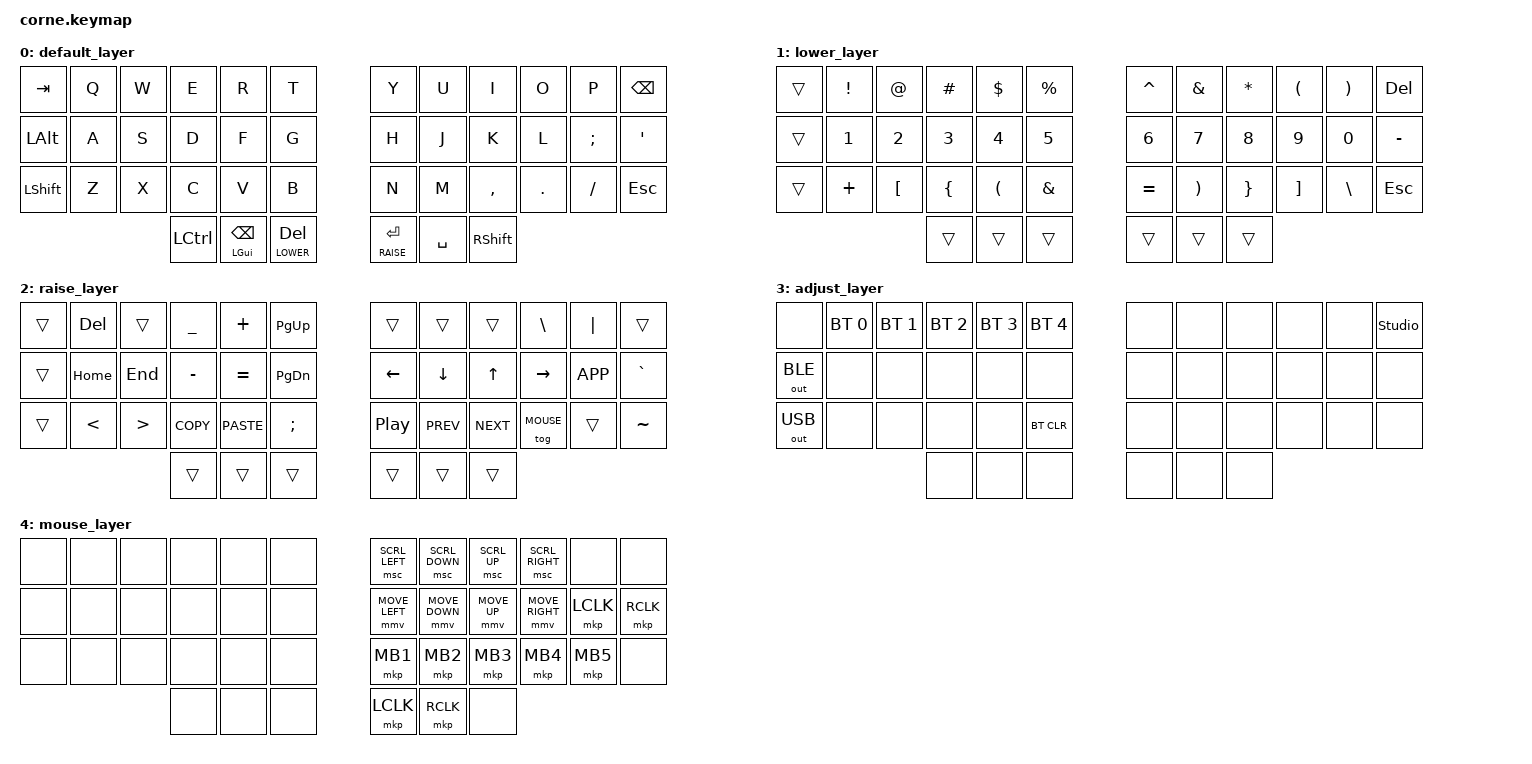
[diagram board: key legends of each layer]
/*
 * Copyright (c) 2020 The ZMK Contributors
 *
 * SPDX-License-Identifier: MIT
 */

#include <behaviors.dtsi>
#include <dt-bindings/zmk/keys.h>
#include <dt-bindings/zmk/bt.h>
#include <dt-bindings/zmk/outputs.h>
#include <dt-bindings/zmk/pointing.h>

#define BASE 0
#define LOWER 1
#define RAISE 2
#define ADJUST 3
#define MOUSE 4

/ {

   // Activate ADJUST layer by pressing raise and lower
    conditional_layers {
        compatible = "zmk,conditional-layers";
        adjust_layer {
            if-layers = <LOWER RAISE>;
            then-layer = <ADJUST>;
        };
    };

        keymap {
                compatible = "zmk,keymap";

                default_layer {
// -----------------------------------------------------------------------------------------
// |  TAB |  Q  |  W  |  E  |  R  |  T  |   |  Y  |  U   |  I  |  O  |  P  | BSPC |
// | ALT  |  A  |  S  |  D  |  F  |  G  |   |  H  |  J   |  K  |  L  |  ;  |  '   |
// | SHFT |  Z  |  X  |  C  |  V  |  B  |   |  N  |  M   |  ,  |  .  |  /  | ESC  |
//                    | CTRL | GUI/BKSPACE | LOWER/DEL |   | RAISE/ENTER | SPACE | SHIFT |
                        bindings = <
   &kp TAB   &kp Q &kp W &kp E &kp R &kp T   &kp Y &kp U  &kp I     &kp O   &kp P    &kp BSPC
   &kp LALT  &kp A &kp S &kp D &kp F &kp G   &kp H &kp J  &kp K     &kp L   &kp SEMI &kp SQT
   &kp LSHFT &kp Z &kp X &kp C &kp V &kp B   &kp N &kp M  &kp COMMA &kp DOT &kp FSLH &kp ESC
                  &kp LCTRL &mt LGUI BSPC &lt LOWER DEL    &lt RAISE ENTER &kp SPACE &kp RSHIFT
                        >;
                };

                lower_layer {
// -----------------------------------------------------------------------------------------
// |  TAB |  !  |  @  |  #  |  $  |  %  |   |  ^  |  &  |  *  |  (  |  )  | DEL  |
// | ALT  |  1  |  2  |  3  |  4  |  5  |   |  6  |  7  |  8  |  9  |  0  |  -   |
// | SHFT |  +  |  [  |  {  |  (  |  &  |   |  =  |  )  |  }  |  ]  |  \  | ESC  |
//                    | CTRL | GUI | LOWER |   | RAISE | SPACE | SHIFT |
                        bindings = <
   &trans &kp EXCL &kp AT   &kp HASH &kp DLLR &kp PRCNT    &kp CARET &kp AMPS  &kp ASTRK &kp LPAR &kp RPAR &kp DEL
   &trans &kp N1   &kp N2   &kp N3   &kp N4   &kp N5       &kp N6    &kp N7    &kp N8    &kp N9   &kp N0   &kp MINUS
   &trans &kp PLUS &kp LBKT &kp LBRC &kp LPAR &kp AMPS     &kp EQUAL &kp RPAR  &kp RBRC  &kp RBKT &kp BSLH &kp ESC
                                    &trans &trans &trans     &trans &trans &trans
                        >;
                };

                raise_layer {
// -----------------------------------------------------------------------------------------
// | TAB  | DEL  |      |  _   |  +   | PGUP |   |      |      |      | \    |  |   | BSPC |
// | ALT  | HOME | END  |  -   |  =   | PGDN |   | LEFT | DOWN |  UP  | RIGHT| APP |  `   |
// | SHFT |  <   |  >   | COPY | PASTE|  ;   |   | PLAY | PREV | NEXT | MOUSE|     |  ~   |
//                      | CTRL | GUI  | LOWER |   | RAISE| SPACE| SHIFT|
                        bindings = <
   &trans &kp DEL  &trans    &kp UNDER &kp PLUS   &kp PG_UP     &trans    &trans     &trans     &kp BSLH  &kp PIPE  &trans
   &trans &kp HOME &kp END   &kp MINUS &kp EQUAL  &kp PG_DN     &kp LEFT  &kp DOWN   &kp UP     &kp RIGHT &kp K_APP &kp GRAVE
   &trans &kp LT   &kp GT    &kp K_COPY &kp K_PASTE &kp SEMI    &kp C_PP  &kp C_PREV &kp C_NEXT &tog MOUSE &trans    &kp TILDE
                           &trans     &trans      &trans         &trans    &trans     &trans
                        >;
                };

                adjust_layer {
// -----------------------------------------------------------------------------------------
// |      | BT1  | BT2  | BT3  | BT4  | BT5  |   |      |      |      |      |      |STUDIO|
// | BLE  |      |      |      |      |      |   |      |      |      |      |      |      |
// | USB  |      |      |      |      | BTCLR|   |      |      |      |      |      |      |
//                       |      |      |      |   |      |      |      |
                        bindings = <
    &none        &bt BT_SEL 0 &bt BT_SEL 1 &bt BT_SEL 2 &bt BT_SEL 3 &bt BT_SEL 4   &none &none &none &none &none &studio_unlock
    &out OUT_BLE &none        &none        &none        &none        &none          &none &none &none &none &none &none
    &out OUT_USB &none        &none        &none        &none        &bt BT_CLR     &none &none &none &none &none &none
                                       &none        &none        &none          &none &none &none
                        >;
                };

                mouse_layer {
// -----------------------------------------------------------------------------------------
// |      |      |      |      |      |      |   | SCRL← | SCRL↓ | SCRL↑ | SCRL→ |      |      |
// |      |      |      |      |      |      |   |  ←   |   ↓   |   ↑   |   →   |  LCK  | RCK  |
// |      |      |      |      |      |      |   |  mb1 |  mb2  |  mb3  |  mb4  |  mb5  |      |
//                      |      |      |      |   | LCK  |  RCK  |      |
                        bindings = <
 &none &none &none &none &none &none &msc SCRL_LEFT &msc SCRL_DOWN  &msc SCRL_UP &msc SCRL_RIGHT &none &none
   &none &none  &none      &none    &none &none    &mmv MOVE_LEFT &mmv MOVE_DOWN &mmv MOVE_UP &mmv MOVE_RIGHT &mkp LCLK &mkp RCLK
   &none &none      &none  &none      &none &none    &mkp MB1 &mkp MB2 &mkp MB3 &mkp MB4 &mkp MB5 &none
                            &none &none &none    &mkp LCLK &mkp RCLK &none
                        >;
                };
        };
};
